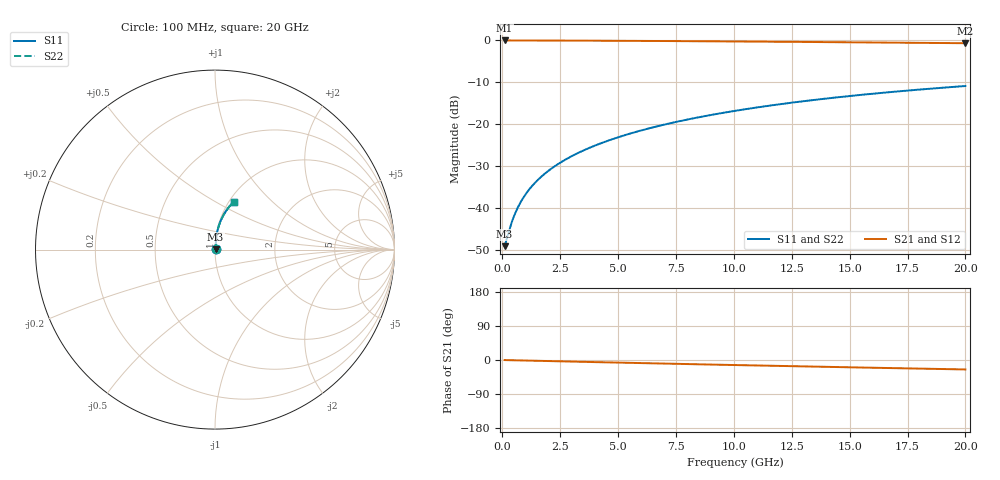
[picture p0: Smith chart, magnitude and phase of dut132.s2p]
! Touchstone file exported from HFSS 2024.1.0
!  File:  C:/UserFiles/LocalFiles/RDL_TSV_Batchsim/temp_RDL_bottom_132_1778696503.aedt
!  Generated:  02:24:50 AM May 14, 2026
!  Design:  RDL_bottom
!  Project:  temp_RDL_bottom_132_1778696503
!  Setup:  Setup1
!  Solution:  Sweep
! Variables:
!  dtsv = 10.80580581um
!  hbump = 3um
!  htsv = 88.72um
!  ldown = 295.49um
!  lrdl = 100um
!  p = 40
!  p1 = 48.78um
!  rhole = 1um
!  t = 450um
!  tdown = 2.01um
!  trdl = 3.915915916um
!  wdown = 18.43um
!  wrdl = 20um
# GHz S MA R 50.000000
! Terminal data exported
! Port[1] = RDL1_T1
! Port[2] = RDL1_T2
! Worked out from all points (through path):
!   200 points, 100 MHz to 20 GHz, reference 50 ohm
!   highest |S21| = -0.03 dB at 100 MHz (marker M1); lowest = -0.7 dB at 20 GHz (marker M2)
!   group delay of S21, straight-line fit = 3.45 ps
!   lowest |S11| = -49.1 dB at 100 MHz (marker M3), VSWR 1.01, Z = 50.3 + j0.148 ohm
!   |S11| at or under -10 dB: start of sweep to end of sweep
!   |S22| runs from -49.1 to -10.9 dB; largest |S21 - S12| = 3.1e-15
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0.1  0.003511 24.7  0.9968 -0.1  0.9968 -0.1  0.003511 24.7
! Gamma 0 0 0 0
! Port Impedance 50 0 50 0
0.3  0.005454 52.7  0.9967 -0.4  0.9967 -0.4  0.005454 52.7
0.4  0.006662 59.6  0.9966 -0.6  0.9966 -0.6  0.006661 59.6
0.6  0.009214 67.7  0.9964 -0.9  0.9964 -0.9  0.009214 67.7
0.7  0.01052 70.2  0.9963 -1.0  0.9963 -1.0  0.01052 70.2
0.9  0.01317 73.7  0.996 -1.3  0.996 -1.3  0.01317 73.7
1.2  0.01717 76.9  0.9957 -1.7  0.9957 -1.7  0.01717 76.9
1.4  0.01985 78.4  0.9954 -2.0  0.9954 -2.0  0.01985 78.4
1.7  0.02388 79.9  0.995 -2.4  0.995 -2.4  0.02388 79.9
2.2  0.03065 81.6  0.9943 -3.1  0.9943 -3.1  0.03065 81.6
2.8  0.03885 82.7  0.9932 -3.9  0.9932 -3.9  0.03885 82.7
3.5  0.04855 83.4  0.9918 -4.9  0.9918 -4.9  0.04855 83.4
4.2  0.05839 83.7  0.9901 -5.8  0.9901 -5.8  0.05839 83.7
5  0.0698 83.8  0.9879 -6.9  0.9879 -6.9  0.06981 83.8
5.9  0.08283 83.5  0.9851 -8.1  0.9851 -8.1  0.08283 83.5
6.8  0.09601 83.0  0.9821 -9.2  0.9821 -9.2  0.09602 83.0
8.4  0.1197 81.8  0.9763 -11.3  0.9763 -11.3  0.1197 81.8
10.1  0.1451 80.2  0.9696 -13.4  0.9696 -13.4  0.1451 80.2
11.7  0.1688 78.5  0.9629 -15.4  0.9629 -15.4  0.1688 78.5
13.4  0.1937 76.5  0.9555 -17.4  0.9555 -17.4  0.1937 76.5
16.7  0.2407 72.6  0.9403 -21.2  0.9403 -21.2  0.2407 72.6
20  0.2853 68.7  0.9243 -25.0  0.9243 -25.0  0.2853 68.7
